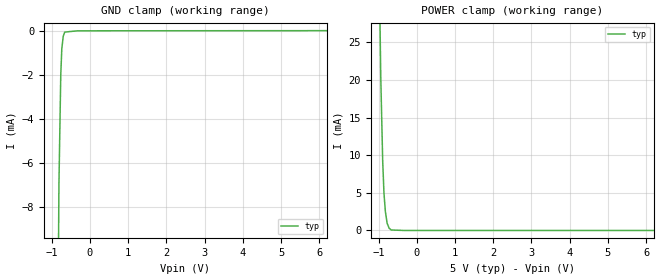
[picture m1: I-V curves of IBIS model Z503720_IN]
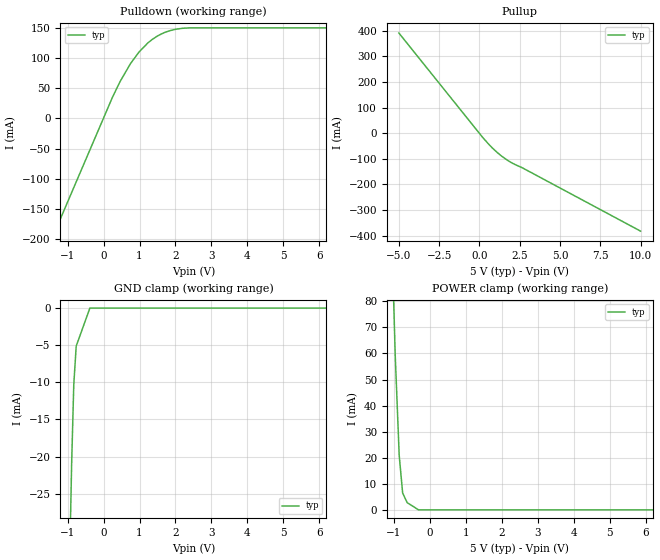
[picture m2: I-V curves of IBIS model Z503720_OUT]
| YOU ARE ONLY AUTHORIZED TO USE THIS SOFTWARE
| ACCORDING TO LICENSOR'S LICENSE RESTRICTIONS.
[IBIS Ver] 3.1
[File Name] mc74ac11n.ibs
[File Rev] 2.0
[Source] Measured and created by ICX Technology
[Date] Friday 7/14/00 9:07:58 AM
[Copyright]
| (C) COPYRIGHT 1993-2000
| MENTOR GRAPHICS CORPORATION
| ICX STANDARD LIBRARY, ICX PROJECT MODELING,
| ICX CUSTOM MODELING, ICX VENDOR MODEL
| ALL RIGHTS RESERVED.
| THE FOLLOWING ARE TRADEMARKS OR SERVICE MARKS OF
| MENTOR GRAPHICS CORPORATION:ICX (R), ICX STANDARD
| LIBRARY(R), ICX PROJECT MODELING(R), ICX CUSTOM
| MODELING(R), qualityIBIS(TM), MODELVIEWER(TM),
| AND MODELEDITOR(TM)
| ALL COPIES OF SOFTWARE, INCLUDING BUT NOT LIMITED TO
| ANY MODIFICATIONS, ENHANCEMENTS OR DERIVATIVE WORKS,
| MUST CONTAIN ALL MENTOR GRAPHICS CORPORATION'S
| NOTICES AND LEGENDS, INCLUDING THOSE EMBEDDED IN
| SOFTWARE AND THOSE AFFIXED TO SOFTWARE MEDIUM
| AND CONTAINER, AS RECEIVED FROM MENTOR GRAPHICS
| CORPORATION.
|  ZAP Model Builder 2.7
[Component] MC74AC11N
[Manufacturer] OnSemiconductor
[Package]
| variable   typ   min   max
R_pkg  .21ohms NA NA
L_pkg  4.543nH NA NA
C_pkg  1.059pF NA NA
[Pin] signal_name  model_name  R_pin  L_pin C_pin
1 A Z503720_IN .22 6.757n 1.432p
2 B Z503720_IN .212 4.757n 1.142p
3 A Z503720_IN .204 3.257n .852p
4 B Z503720_IN .196 2.257n .562p
5 C Z503720_IN .204 3.257n .852p
6 Y Z503720_OUT .212 4.757n 1.142p
7 GND GND .22 6.757n 1.432p
8 Y Z503720_OUT .22 6.757n 1.432p
9 A Z503720_IN .212 4.757n 1.142p
10 B Z503720_IN .204 3.257n .852p
11 C Z503720_IN .196 2.257n .562p
12 Y Z503720_OUT .204 3.257n .852p
13 C Z503720_IN .212 4.757n 1.142p
14 VCC POWER .22 6.757n 1.432p
| Models and submodels in the file (2): Z503720_IN (Input), Z503720_OUT (Output)
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| (C) COPYRIGHT 1993-2000
| MENTOR GRAPHICS CORPORATION
| ICX STANDARD LIBRARY, ICX PROJECT MODELING,
| ICX CUSTOM MODELING, ICX VENDOR MODEL
| ALL RIGHTS RESERVED.
| THE FOLLOWING ARE TRADEMARKS OR SERVICE MARKS OF
| MENTOR GRAPHICS CORPORATION:ICX (R), ICX STANDARD
| LIBRARY(R), ICX PROJECT MODELING(R), ICX CUSTOM
| MODELING(R), qualityIBIS(TM), MODELVIEWER(TM),
| AND MODELEDITOR(TM)
| ALL COPIES OF SOFTWARE, INCLUDING BUT NOT LIMITED TO
| ANY MODIFICATIONS, ENHANCEMENTS OR DERIVATIVE WORKS,
| MUST CONTAIN ALL MENTOR GRAPHICS CORPORATION'S
| NOTICES AND LEGENDS, INCLUDING THOSE EMBEDDED IN
| SOFTWARE AND THOSE AFFIXED TO SOFTWARE MEDIUM
| AND CONTAINER, AS RECEIVED FROM MENTOR GRAPHICS
| CORPORATION.
| Model Application Version 1.89 2/18/99.
[Model] Z503720_IN
Model_type Input
Vinl = 1.500V
Vinh = 3.500V
C_comp 4.000pF NA NA
| variable typ   min   max
[Voltage Range] 5.000V NA NA
[GND Clamp Reference] 0.000V NA NA
[POWER Clamp Reference] 5.000V NA NA
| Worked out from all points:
|   GND clamp passes 1 mA (typ) near -0.74 V on its own axis
|   POWER clamp passes 1 mA (typ) near -0.78 V on its own axis
[GND Clamp]
-5V       -1.082A    NA         NA
-810mV    -6.971mA   NA         NA
-761.8mV  -1.98mA    NA         NA
-735.2mV  -820.4uA   NA         NA
-696.6mV  -240.2uA   NA         NA
-658.6mV  -57.2uA    NA         NA
-329.3mV  1.853uA    NA         NA
10V       12.71uA    NA         NA
[POWER Clamp]
-5V       1.49A      NA         NA
-942mV    20.43mA    NA         NA
-892mV    9.305mA    NA         NA
-858mV    4.942mA    NA         NA
-822mV    2.542mA    NA         NA
-776mV    975.8uA    NA         NA
-723mV    295uA      NA         NA
-666mV    63.88uA    NA         NA
-333mV    0A         NA         NA
10V       0A         NA         NA
| (C) COPYRIGHT 1993-2000
| MENTOR GRAPHICS CORPORATION
| ICX STANDARD LIBRARY, ICX PROJECT MODELING,
| ICX CUSTOM MODELING, ICX VENDOR MODEL
| ALL RIGHTS RESERVED.
| THE FOLLOWING ARE TRADEMARKS OR SERVICE MARKS OF
| MENTOR GRAPHICS CORPORATION:ICX (R), ICX STANDARD
| LIBRARY(R), ICX PROJECT MODELING(R), ICX CUSTOM
| MODELING(R), qualityIBIS(TM), MODELVIEWER(TM),
| AND MODELEDITOR(TM)
| ALL COPIES OF SOFTWARE, INCLUDING BUT NOT LIMITED TO
| ANY MODIFICATIONS, ENHANCEMENTS OR DERIVATIVE WORKS,
| MUST CONTAIN ALL MENTOR GRAPHICS CORPORATION'S
| NOTICES AND LEGENDS, INCLUDING THOSE EMBEDDED IN
| SOFTWARE AND THOSE AFFIXED TO SOFTWARE MEDIUM
| AND CONTAINER, AS RECEIVED FROM MENTOR GRAPHICS
| CORPORATION.
| Model Application Version 1.89 2/18/99.
[Model] Z503720_OUT
Model_type Output
Vref=0.000V
Rref=500.0ohms
Cref=50.00pF
Vmeas=2.500V
C_comp 8.000pF NA NA
| variable typ   min   max
[Voltage Range] 5.000V NA NA
[POWER Clamp Reference] 5.000V NA NA
[Pullup Reference] 5.000V NA NA
[Pulldown Reference] 0.000V NA NA
[GND Clamp Reference] 0.000V NA NA
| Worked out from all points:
|   slope of the pulldown table from 0 to 0.75 V, typ, clamps not added: 8.31 ohm
|   slope of the pullup table from 0 to 0.75 V, typ, clamps not added: 14 ohm
[GND Clamp]
-5V       -996.3mA   NA         NA
-888.2mV  -20.91mA   NA         NA
-829.2mV  -10.32mA   NA         NA
-761.6mV  -5.12mA    NA         NA
-380.8mV  0A         NA         NA
10V       0A         NA         NA
[Pulldown]
-5V       -694.9mA   NA         NA
244.8mV   34.84mA    NA         NA
458.4mV   61.11mA    NA         NA
748.6mV   90.96mA    NA         NA
988mV     110.3mA    NA         NA
1.233V    125.3mA    NA         NA
1.349V    130.8mA    NA         NA
1.504V    136.9mA    NA         NA
1.738V    143.5mA    NA         NA
2.012V    148mA      NA         NA
2.392V    150.3mA    NA         NA
10V       150.3mA    NA         NA
[Pullup]
-5V       391mA      NA         NA
215mV     -17.59mA   NA         NA
608mV     -45.26mA   NA         NA
796mV     -57.35mA   NA         NA
1.119V    -76.2mA    NA         NA
1.403V    -90.82mA   NA         NA
1.806V    -108.3mA   NA         NA
1.999V    -115.4mA   NA         NA
2.214V    -122.4mA   NA         NA
2.648V    -134.6mA   NA         NA
10V       -382.2mA   NA         NA
[POWER Clamp]
-5V       2.003A     NA         NA
-966mV    59.56mA    NA         NA
-855mV    20.93mA    NA         NA
-759mV    6.477mA    NA         NA
-633mV    2.759mA    NA         NA
-316.5mV  0A         NA         NA
10V       0A         NA         NA
[Ramp]
| variable typ min max
dV/dt_r 2.934/397.1p NA NA
dV/dt_f 2.934/295.6p NA NA
R_load = 500.0Ohms
